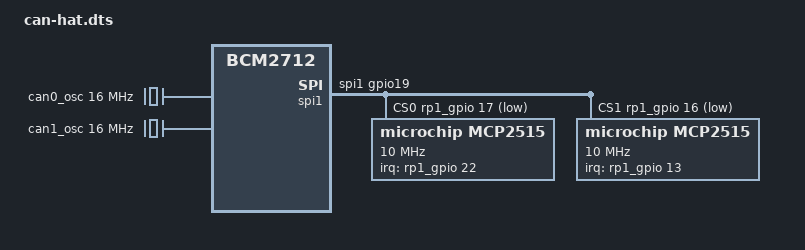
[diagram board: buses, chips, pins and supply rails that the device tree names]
/dts-v1/;
/plugin/;

/ {
	compatible = "brcm,bcm2712";

	// the two 16 MHz crystals
	fragment@0 {
		target-path = "/clocks";
		__overlay__ {
			// clock node for chip 0
			can0_osc: can0-osc {
				compatible = "fixed-clock";
				#clock-cells = <0>;
				clock-frequency = <16000000>;
			};
			// clock node for chip 1
			can1_osc: can1-osc {
				compatible = "fixed-clock";
				#clock-cells = <0>;
				clock-frequency = <16000000>;
			};
		};
	};

	// pin setup
	fragment@1 {
		target = <&rp1_gpio>;
		__overlay__ {
			// cs pins: gpio 17, 16 as outputs
			can_cs_pins: can-cs-pins {
				brcm,function = <1>;
				brcm,pins = <17 16>;
			};			
			// int pin for chip 0: gpio 22 as input
			can0_int_pin: can0-int-pin {
				brcm,function = <0>;
				brcm,pins = <22>;
			};
			// int pin for chip 1: gpio 13 as input
			can1_int_pin: can1-int-pin {
				brcm,function = <0>;
				brcm,pins = <13>;
			};
		};
	};

	// spi1 and the two chips
	fragment@2 {
		target = <&spi1>;
		__overlay__ {
			#address-cells = <1>;
			#size-cells = <0>;

			// spi1 wiring properties
			pinctrl-names = "default";
			num-cs = <2>;
			pinctrl-0 = <&rp1_spi1_gpio19 &can_cs_pins>;
			status = "okay";
			cs-gpios = <&rp1_gpio 17 1>, <&rp1_gpio 16 1>;

			// chip 0 node
			mcp2515@0 {
				pinctrl-names = "default";
				pinctrl-0 = <&can0_int_pin>;
				interrupts = <22 8>;			// gpio 22, level low
				clocks = <&can0_osc>;
				spi-max-frequency = <10000000>;
				interrupt-parent = <&rp1_gpio>;
				compatible = "microchip,mcp2515";
				reg = <0>;				// cs 0, gpio 17
			};
			// chip 1 node
			mcp2515@1 {
				pinctrl-names = "default";
				pinctrl-0 = <&can1_int_pin>;
				interrupts = <13 8>;			// gpio 13, level low
				clocks = <&can1_osc>;
				spi-max-frequency = <10000000>;
				interrupt-parent = <&rp1_gpio>;
				compatible = "microchip,mcp2515";
				reg = <1>;				// cs 1, gpio 16
			}; 
		};
	};
};
